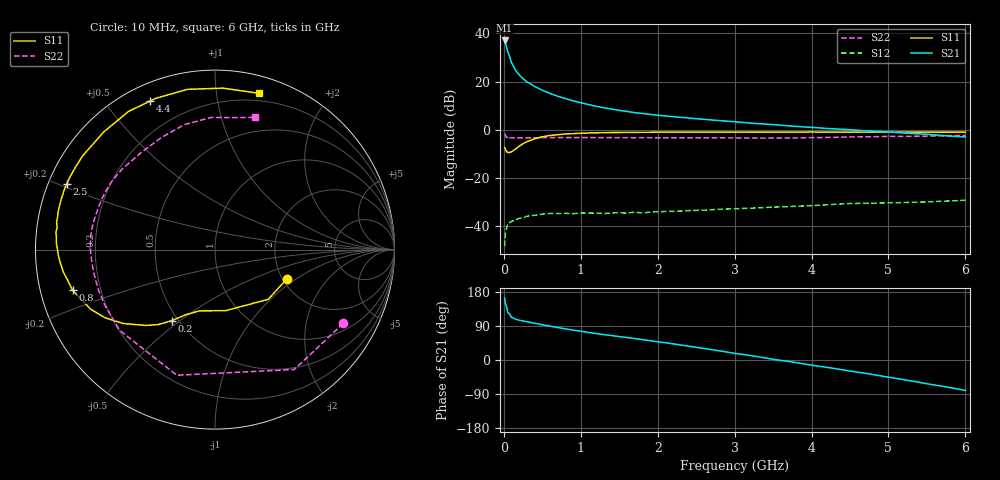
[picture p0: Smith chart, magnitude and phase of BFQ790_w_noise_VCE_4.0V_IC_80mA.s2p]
! Infineon Technologies  Discrete & RF Semiconductors
! BFQ790
! VCE =  4.0 V,  IC =  80 mA
! Common Emitter S-Parameters:  May 2015
# GHz  S  MA  R  50
!  f  S11  S21  S12  S22
! GHz  MAG  ANG  MAG  ANG  MAG  ANG  MAG  ANG
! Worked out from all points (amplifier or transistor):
!   77 points, 10 MHz to 6 GHz, reference 50 ohm
!   highest |S21| = 37.1 dB at 10 MHz (marker M1)
!   |S21| within 3 dB of that: start of sweep to 37.12 MHz
!   unconditionally stable (mu >= 1): 1.224 GHz to end of sweep
!   at 130 MHz: K = 0.74, MSG = 31.8 dB, |S12| = -37.5 dB
!   at 2.2 GHz: K = 1.21, MAG = 16.8 dB, |S12| = -33.7 dB
!   at 6 GHz: K = 1.33, MAG = 9.7 dB, |S12| = -29.1 dB
!   lowest NFmin = 2.44 dB at 1.5 GHz
!   S11 on the Smith chart (normalised r, x): 10 MHz: 2.09, -0.85; 200 MHz: 0.46, -0.47; 800 MHz: 0.10, -0.14; 2.5 GHz: 0.05, +0.21; 4.4 GHz: 0.07, +0.65; 6 GHz: 0.14, +1.31
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0.01  0.4313 -22.5  71.62 164.0  0.0039 53.9  0.8248 -29.9
0.02  0.4059 -43.0  64.81 149.9  0.0069 58.1  0.8009 -56.5
0.05  0.3453 -79.9  42.08 126.0  0.0115 33.2  0.7317 -106.9
0.1  0.3523 -104.3  24.6 112.5  0.0127 22.5  0.6962 -139.8
0.15  0.3997 -114.5  17.47 107.8  0.0138 20.7  0.6876 -153.4
0.2  0.4624 -121.2  13.78 105.0  0.0148 19.6  0.6868 -160.7
0.25  0.5217 -126.9  11.52 103.1  0.015 17.7  0.6863 -165.4
0.3  0.5705 -132.2  9.938 101.0  0.0163 15.0  0.6871 -168.9
0.4  0.657 -141.2  7.967 97.0  0.0171 12.5  0.6895 -173.8
0.5  0.7215 -148.3  6.652 93.0  0.018 10.3  0.692 -177.4
0.6  0.7683 -154.4  5.732 89.3  0.0186 10.0  0.6944 179.6
0.7  0.7966 -159.8  5.006 85.5  0.0185 7.6  0.6954 177.2
0.8  0.8253 -164.1  4.478 82.2  0.0187 4.3  0.6954 175.3
1.1  0.8645 -174.9  3.36 72.8  0.019 2.8  0.696 170.2
1.5  0.8862 175.7  2.55 61.8  0.0192 0.7  0.6919 164.7
2.1  0.8999 164.3  1.952 45.5  0.0204 -1.8  0.6899 156.4
2.5  0.9032 156.1  1.713 33.6  0.0215 -5.1  0.6894 149.4
3.1  0.9006 142.4  1.436 14.9  0.0236 -11.3  0.6813 136.4
4.1  0.905 120.0  1.103 -16.5  0.0275 -21.6  0.6948 113.1
4.4  0.9032 113.6  1.03 -25.8  0.0293 -25.6  0.7096 106.1
5.1  0.9015 97.3  0.886 -48.6  0.0311 -37.8  0.7362 89.4
6  0.9044 74.4  0.716 -80.4  0.035 -55.3  0.7697 73.2
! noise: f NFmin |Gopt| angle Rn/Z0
0.45  3.61  0.36  127  0.38
0.9  2.62  0.51  162  0.14
1.5  2.44  0.64  -176  0.07
1.8  2.6  0.66  -171  0.08
2.6  3.1  0.71  -153  0.19
3.5  3.8  0.82  -137  0.47
